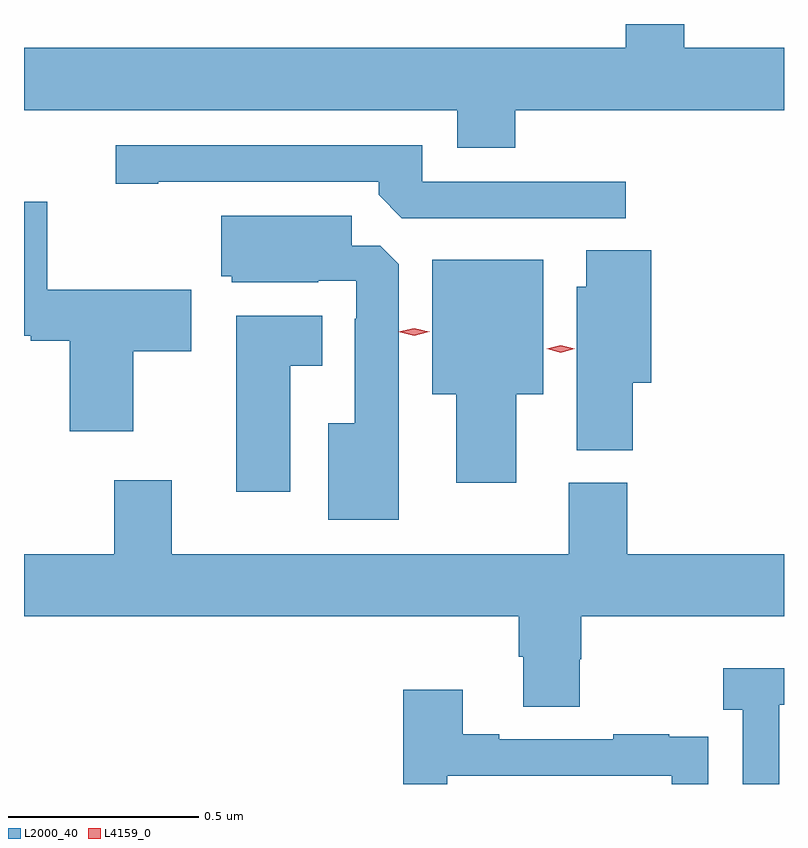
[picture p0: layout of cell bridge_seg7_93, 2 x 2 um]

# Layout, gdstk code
import gdstk
lib = gdstk.Library(unit=1e-6, precision=1e-09)
def P(c, l, *ps):  # polygons
    for p in ps: c.add(gdstk.Polygon(p, *l))
L2000_40 = (2000, 40)
L4159_0 = (4159, 0)

bridge_seg7_93 = lib.new_cell('bridge_seg7_93')
P(bridge_seg7_93, L2000_40, [(1085.822,1016.6),(1086.529,1016.6),(1086.529,1016.764),(1086.266,1016.764),(1086.266,1016.827),(1086.113,1016.827),(1086.113,1016.764),(1084.529,1016.764),(1084.529,1016.6),(1085.669,1016.6),(1085.669,1016.501),(1085.822,1016.501)],
  [(1086.112,1016.412),(1085.577,1016.412),(1085.577,1016.508),(1084.77,1016.508),(1084.77,1016.407),(1084.882,1016.407),(1084.882,1016.412),(1085.462,1016.412),(1085.462,1016.378),(1085.523,1016.316),(1086.112,1016.316)],
  [(1084.816,1015.966),(1084.969,1015.966),(1084.969,1016.128),(1084.59,1016.128),(1084.59,1016.359),(1084.529,1016.359),(1084.529,1016.006),(1084.547,1016.006),(1084.547,1015.994),(1084.649,1015.994),(1084.649,1015.755),(1084.816,1015.755)],
  [(1085.515,1016.195),(1085.466,1016.244),(1085.392,1016.244),(1085.392,1016.323),(1085.048,1016.323),(1085.048,1016.163),(1085.076,1016.163),(1085.076,1016.147),(1085.303,1016.147),(1085.303,1016.151),(1085.403,1016.151),(1085.403,1016.051),(1085.399,1016.051),(1085.399,1015.777),(1085.33,1015.777),(1085.33,1015.523),(1085.515,1015.523)],
  [(1086.131,1015.883),(1086.179,1015.883),(1086.179,1016.231),(1086.008,1016.231),(1086.008,1016.136),(1085.984,1016.136),(1085.984,1015.705),(1086.131,1015.705)],
  [(1085.824,1015.853),(1085.896,1015.853),(1085.896,1016.206),(1085.603,1016.206),(1085.603,1015.853),(1085.666,1015.853),(1085.666,1015.62),(1085.824,1015.62)],
  [(1085.23,1015.928),(1085.314,1015.928),(1085.314,1016.059),(1085.087,1016.059),(1085.087,1015.596),(1085.23,1015.596)],
  [(1085.991,1015.155),(1085.996,1015.155),(1085.996,1015.268),(1086.529,1015.268),(1086.529,1015.432),(1086.116,1015.432),(1086.116,1015.62),(1085.963,1015.62),(1085.963,1015.432),(1084.918,1015.432),(1084.918,1015.627),(1084.766,1015.627),(1084.766,1015.432),(1084.529,1015.432),(1084.529,1015.268),(1085.831,1015.268),(1085.831,1015.162),(1085.843,1015.162),(1085.843,1015.03),(1085.991,1015.03)],
  [(1086.516,1014.835),(1086.517,1014.835),(1086.517,1015.035),(1086.529,1015.035),(1086.529,1015.132),(1086.369,1015.132),(1086.369,1015.022),(1086.42,1015.022),(1086.42,1014.827),(1086.516,1014.827)],
  [(1085.643,1014.849),(1086.234,1014.849),(1086.234,1014.827),(1086.33,1014.827),(1086.33,1014.842),(1086.329,1014.842),(1086.329,1014.951),(1086.227,1014.951),(1086.227,1014.958),(1086.079,1014.958),(1086.079,1014.945),(1085.779,1014.945),(1085.779,1014.958),(1085.683,1014.958),(1085.683,1015.075),(1085.527,1015.075),(1085.527,1014.827),(1085.643,1014.827)])
P(bridge_seg7_93, L4159_0, [(1085.941,1015.962),(1085.904,1015.972),(1085.903,1015.972),(1085.904,1015.972),(1085.941,1015.982),(1085.978,1015.972),(1085.978,1015.972),(1085.978,1015.972)],
  [(1085.556,1016.007),(1085.514,1016.017),(1085.514,1016.017),(1085.514,1016.017),(1085.556,1016.027),(1085.596,1016.017),(1085.597,1016.017),(1085.596,1016.017)])

lib.write_gds('bridge_seg7_93.gds')
